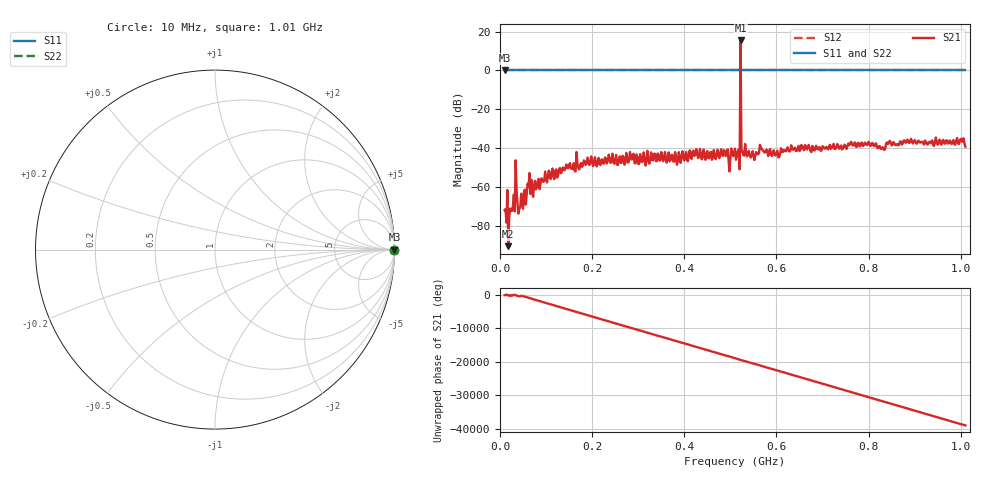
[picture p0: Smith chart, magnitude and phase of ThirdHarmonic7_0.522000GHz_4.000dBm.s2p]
! 8/17/2025 3:23:18 PM
! C:\ANRITSUVNA\TEMP\TEMP.S2P
! CHANNEL.1
! TR.MEASUREMENT
! RAW.DATA
! RF.CORRECTION.OFF
! AVERAGING.OFF
! IF.BANDWIDTH: 5KHZ
! SWEEPTYPE:  FREQ.SWEEP(Linear)
! Reference Plane Port Info
! PORT:  PORT1  PORT2
! DISTANCE:  0  m  0  m
! TIME:  0  s  0  s
! PHASE.OFFSET:  0  deg.  0  deg.
! LOSS:  0  dB  0  dB
! REF.LOSS:  0  dB  0  dB
! REF.FREQ:  0  Hz  0  Hz
! Power Info
! POWER:  -20  dBm  -20  dBm
! EFF.POWER:  -20  dBm  -20  dBm
! SOURCE.ATTEN:  0  dB  0  dB
! TEST.ATTEN:  0  dB  0  dB
# GHZ S RI R 50.0
! FREQ.GHZ  S11RE  S11IM  S21RE  S21IM  S12RE  S12IM  S22RE  S22IM
!; PortSelection: Port_12
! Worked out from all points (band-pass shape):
!   501 points, 10 MHz to 1.01 GHz, reference 50 ohm
!   highest |S21| = 15.41 dB at 522 MHz (marker M1); lowest = -90.1 dB at 18 MHz (marker M2)
!   |S21| within 3 dB of the highest: 521.9092 MHz to 522.1054 MHz (196.2 kHz wide, 0.0376 % of centre)
!   lowest |S11| = 0.0 dB at 10 MHz (marker M3)
!   |S11| at or under -10 dB: nowhere
!   |S22| runs from 0.0 to 0.0 dB; largest |S21 - S12| = 4.9
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0.01  1 0  3.86e-05 -0.000259  1 0  1 0
0.018  1 0  -3.1e-05 -3.1e-06  1 0  1 0
0.028  1 0  -4.92e-05 -0.000331  1 0  1 0
0.032  1 0  0.000121 -0.00021  1 0  1 0
0.038  1 0  -0.000252 0.000273  1 0  1 0
0.042  1 0  0.000173 -0.000223  1 0  1 0
0.064  1 0  -0.00233 -0.000282  1 0  1 0
0.07  1 0  -0.00044 -0.00062  1 0  1 0
0.11  1 0  0.000587 0.00154  1 0  1 0
0.178  1 0  -0.00314 -0.00121  1 0  1 0
0.344  1 0  0.00679 -0.00175  1 0  1 0
0.51  1 0  -0.00971 -0.00178  1 0  1 0
0.516  1 0  0.00642 -0.00531  1 0  1 0
0.518  1 0  -0.00686 -0.0063  1 0  1 0
0.522  1 0  5.779 -1.172  1 0  1 0
0.526  1 0  -0.00238 -0.00814  1 0  1 0
0.528  1 0  -0.00675 -0.000189  1 0  1 0
0.678  1 0  0.00555 -0.0103  1 0  1 0
0.76  1 0  -0.0042 -0.0124  1 0  1 0
0.832  1 0  -0.00693 -0.00739  1 0  1 0
0.844  1 0  -0.00588 0.013  1 0  1 0
1.01  1 0  0.000795 -0.0111  1 0  1 0
